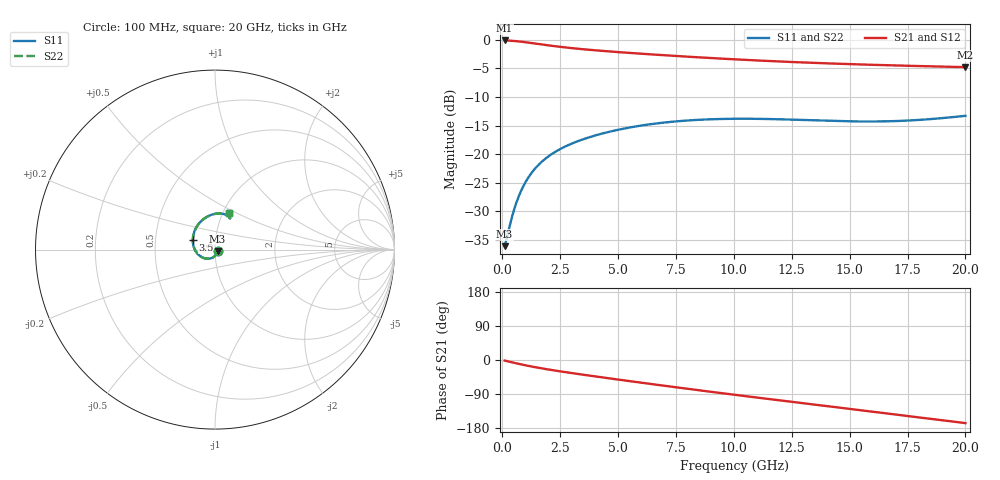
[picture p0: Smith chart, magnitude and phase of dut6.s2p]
! Created with skrf 1.9.0 (http://scikit-rf.org).
# GHz S RI R 50.0
!freq ReS11 ImS11 ReS21 ImS21 ReS12 ImS12 ReS22 ImS22
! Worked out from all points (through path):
!   200 points, 100 MHz to 20 GHz, reference 50 ohm
!   highest |S21| = -0.13 dB at 100 MHz (marker M1); lowest = -4.8 dB at 20 GHz (marker M2)
!   group delay of S21, straight-line fit = 22 ps
!   lowest |S11| = -36.1 dB at 100 MHz (marker M3), VSWR 1.03, Z = 51.4 - j0.736 ohm
!   |S11| at or under -10 dB: start of sweep to end of sweep
!   |S22| runs from -36.1 to -13.3 dB; largest |S21 - S12| = 2e-15
!   S11 on the Smith chart (normalised r, x): 100 MHz: 1.03, -0.01; 3.5 GHz: 0.78, +0.09; 20 GHz: 1.07, +0.45
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0.1  0.014 -0.00715  0.9847 -0.0253  0.9847 -0.0253  0.014 -0.00715
0.2  0.0126 -0.0138  0.9824 -0.0508  0.9824 -0.0508  0.0126 -0.0138
0.4  0.00675 -0.0265  0.9736 -0.1002  0.9736 -0.1002  0.00675 -0.0265
0.6  -0.00253 -0.0372  0.9601 -0.1468  0.9601 -0.1468  -0.00253 -0.0372
0.7  -0.00822 -0.0415  0.9518 -0.1689  0.9518 -0.1689  -0.00822 -0.0415
0.9  -0.0211 -0.0477  0.933 -0.2103  0.933 -0.2103  -0.0211 -0.0477
1.2  -0.0421 -0.0507  0.9007 -0.2657  0.9007 -0.2657  -0.0421 -0.0507
1.6  -0.0691 -0.0443  0.8543 -0.3277  0.8543 -0.3277  -0.0691 -0.0443
2.1  -0.0962 -0.0243  0.7959 -0.3906  0.7959 -0.3906  -0.0962 -0.0243
2.7  -0.1159 0.00841  0.7284 -0.4517  0.7284 -0.4517  -0.1159 0.00841
3.5  -0.1236 0.0549  0.6423 -0.5182  0.6423 -0.5182  -0.1236 0.0549
5.1  -0.0986 0.1323  0.4735 -0.6159  0.4735 -0.6159  -0.0986 0.1323
5.9  -0.0759 0.1595  0.3891 -0.6491  0.3891 -0.6491  -0.0759 0.1595
6.8  -0.0477 0.181  0.2948 -0.6744  0.2948 -0.6744  -0.0477 0.181
8.4  0.00134 0.1993  0.1327 -0.6904  0.1327 -0.6904  0.00134 0.1993
10.1  0.0429 0.1994  -0.0268 -0.6723  -0.0268 -0.6723  0.0429 0.1994
11.7  0.0684 0.1906  -0.1614 -0.6286  -0.1614 -0.6286  0.0684 0.1906
13.4  0.0816 0.1801  -0.2862 -0.5592  -0.2862 -0.5592  0.0816 0.1801
15.1  0.0843 0.1742  -0.3909 -0.4698  -0.3909 -0.4698  0.0843 0.1742
16.7  0.0816 0.176  -0.4693 -0.3706  -0.4693 -0.3706  0.0816 0.176
18.4  0.0784 0.1861  -0.5287 -0.2527  -0.5287 -0.2527  0.0784 0.1861
20  0.0792 0.2015  -0.56 -0.134  -0.56 -0.134  0.0792 0.2015
